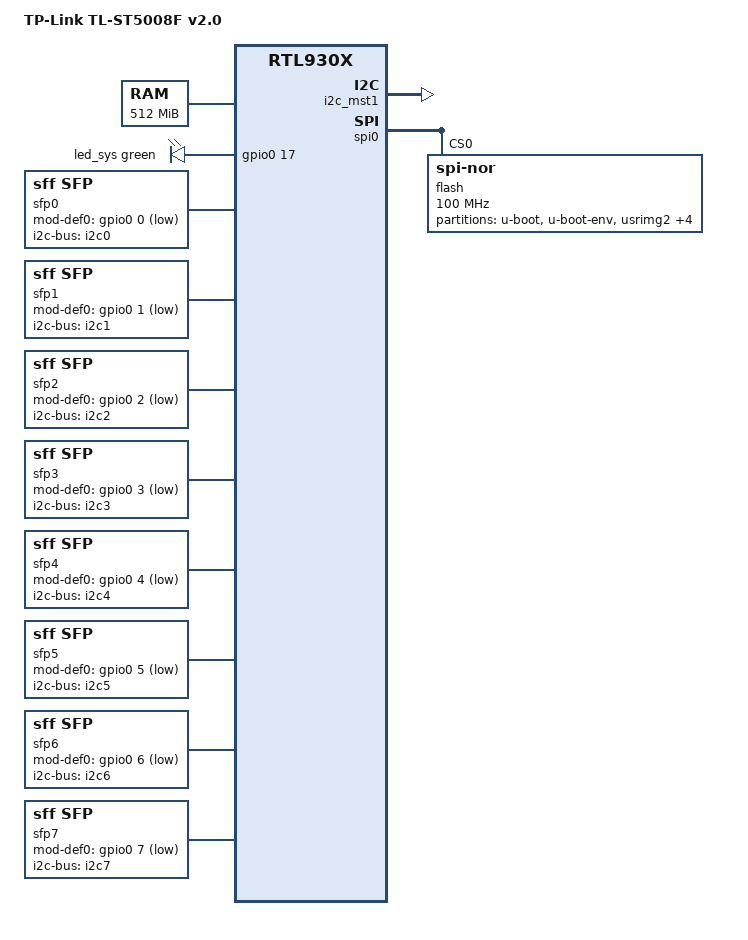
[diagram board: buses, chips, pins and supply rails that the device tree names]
// SPDX-License-Identifier: GPL-2.0-or-later
/*
 * Stock U-Boot boots whatever uImage sits at the start of "sys" and never
 * reads bootcmd, so the firmware partition starts there. It spans the stock
 * sys and usrappfs partitions. The stock rootfs images stay in place, as does
 * everything else U-Boot needs, including its boot parameters in para.
 *
 * No led_set node: SFP TX-disable sits on the LED shift chain (third output
 * per port), so the LED engine stays as the bootloader left it.
 */

#include "rtl930x.dtsi"

#include <dt-bindings/gpio/gpio.h>
#include <dt-bindings/leds/common.h>

/ {
	compatible = "tplink,tl-st5008f-v2", "realtek,rtl930x-soc";
	model = "TP-Link TL-ST5008F v2.0";

	aliases {
		led-boot = &led_sys;
		led-failsafe = &led_sys;
		led-running = &led_sys;
		led-upgrade = &led_sys;
		label-mac-device = &ethernet0;
	};

	memory@0 {
		device_type = "memory";
		reg = <0x00000000 0x10000000>, /* 256 MiB lowmem */
		      <0x20000000 0x10000000>; /* 256 MiB highmem */
	};

	chosen {
		stdout-path = "serial0:38400n8";
	};

	leds {
		compatible = "gpio-leds";

		led_sys: led-0 {
			gpios = <&gpio0 17 GPIO_ACTIVE_HIGH>;
			color = <LED_COLOR_ID_GREEN>;
			function = LED_FUNCTION_STATUS;
		};
	};

	sfp0: sfp-p1 {
		compatible = "sff,sfp";
		i2c-bus = <&i2c0>;
		mod-def0-gpio = <&gpio0 0 GPIO_ACTIVE_LOW>;
		maximum-power-milliwatt = <2000>;
		#thermal-sensor-cells = <0>;
	};

	sfp1: sfp-p2 {
		compatible = "sff,sfp";
		i2c-bus = <&i2c1>;
		mod-def0-gpio = <&gpio0 1 GPIO_ACTIVE_LOW>;
		maximum-power-milliwatt = <2000>;
		#thermal-sensor-cells = <0>;
	};

	sfp2: sfp-p3 {
		compatible = "sff,sfp";
		i2c-bus = <&i2c2>;
		mod-def0-gpio = <&gpio0 2 GPIO_ACTIVE_LOW>;
		maximum-power-milliwatt = <2000>;
		#thermal-sensor-cells = <0>;
	};

	sfp3: sfp-p4 {
		compatible = "sff,sfp";
		i2c-bus = <&i2c3>;
		mod-def0-gpio = <&gpio0 3 GPIO_ACTIVE_LOW>;
		maximum-power-milliwatt = <2000>;
		#thermal-sensor-cells = <0>;
	};

	sfp4: sfp-p5 {
		compatible = "sff,sfp";
		i2c-bus = <&i2c4>;
		mod-def0-gpio = <&gpio0 4 GPIO_ACTIVE_LOW>;
		maximum-power-milliwatt = <2000>;
		#thermal-sensor-cells = <0>;
	};

	sfp5: sfp-p6 {
		compatible = "sff,sfp";
		i2c-bus = <&i2c5>;
		mod-def0-gpio = <&gpio0 5 GPIO_ACTIVE_LOW>;
		maximum-power-milliwatt = <2000>;
		#thermal-sensor-cells = <0>;
	};

	sfp6: sfp-p7 {
		compatible = "sff,sfp";
		i2c-bus = <&i2c6>;
		mod-def0-gpio = <&gpio0 6 GPIO_ACTIVE_LOW>;
		maximum-power-milliwatt = <2000>;
		#thermal-sensor-cells = <0>;
	};

	sfp7: sfp-p8 {
		compatible = "sff,sfp";
		i2c-bus = <&i2c7>;
		mod-def0-gpio = <&gpio0 7 GPIO_ACTIVE_LOW>;
		maximum-power-milliwatt = <2000>;
		#thermal-sensor-cells = <0>;
	};
};

&gpio0 {
	pinctrl-names = "default";
	pinctrl-0 = <&pinmux_disable_spi0>; /* GPIO3-5 are SFP presence pins */
};

&i2c_mst1 {
	status = "okay";

	/* SDA0-7 correspond to GPIO9-16 */
	i2c0: i2c@0 {
		reg = <0>;
	};
	i2c1: i2c@1 {
		reg = <1>;
	};
	i2c2: i2c@2 {
		reg = <2>;
	};
	i2c3: i2c@3 {
		reg = <3>;
	};
	i2c4: i2c@4 {
		reg = <4>;
	};
	i2c5: i2c@5 {
		reg = <5>;
	};
	i2c6: i2c@6 {
		reg = <6>;
	};
	i2c7: i2c@7 {
		reg = <7>;
	};
};

&spi0 {
	status = "okay";

	flash@0 {
		compatible = "jedec,spi-nor";
		reg = <0>;
		spi-max-frequency = <100000000>;

		partitions {
			compatible = "fixed-partitions";
			#address-cells = <1>;
			#size-cells = <1>;

			partition@0 {
				label = "u-boot";
				reg = <0x0 0xe0000>;
				read-only;
			};

			partition@e0000 {
				label = "u-boot-env";
				reg = <0xe0000 0x20000>;
				read-only;
			};

			partition@100000 {
				label = "usrimg2";
				reg = <0x100000 0x900000>;
				read-only;
			};

			partition@a00000 {
				label = "usrimg1";
				reg = <0xa00000 0x900000>;
				read-only;
			};

			partition@1300000 {
				compatible = "openwrt,uimage", "denx,uimage";
				label = "firmware";
				reg = <0x1300000 0xbc0000>;
			};

			partition@1ec0000 {
				label = "tp_head";
				reg = <0x1ec0000 0x40000>;
				read-only;
			};

			partition@1f00000 {
				label = "para";
				reg = <0x1f00000 0x100000>;
				read-only;

				nvmem-layout {
					compatible = "fixed-layout";
					#address-cells = <1>;
					#size-cells = <1>;

					macaddr_para: macaddr@fdff4 {
						reg = <0xfdff4 0x6>;
					};
				};
			};
		};
	};
};

&switch0 {
	ethernet-ports {
		#address-cells = <1>;
		#size-cells = <0>;

		SWITCH_PORT_SFP(0, 1, 2, 0, 0)
		SWITCH_PORT_SFP(8, 2, 3, 0, 1)
		SWITCH_PORT_SFP(16, 3, 4, 0, 2)
		SWITCH_PORT_SFP(20, 4, 5, 0, 3)
		SWITCH_PORT_SFP(24, 5, 6, 0, 4)
		SWITCH_PORT_SFP(25, 6, 7, 0, 5)
		SWITCH_PORT_SFP(26, 7, 8, 0, 6)
		SWITCH_PORT_SFP(27, 8, 9, 0, 7)

		port@1c {
			ethernet = <&ethernet0>;
			reg = <28>;
			phy-mode = "internal";

			fixed-link {
				speed = <1000>;
				full-duplex;
			};
		};
	};
};

&thermal_zones {
	sfp-thermal {
		polling-delay-passive = <10000>;
		polling-delay = <10000>;
		thermal-sensors = <&sfp0>, <&sfp1>, <&sfp2>, <&sfp3>, <&sfp4>, <&sfp5>, <&sfp6>, <&sfp7>;
		trips {
			sfp-crit {
				temperature = <110000>;
				hysteresis = <1000>;
				type = "critical";
			};
		};
	};
};

&ethernet0 {
	nvmem-cells = <&macaddr_para>;
	nvmem-cell-names = "mac-address";
};
